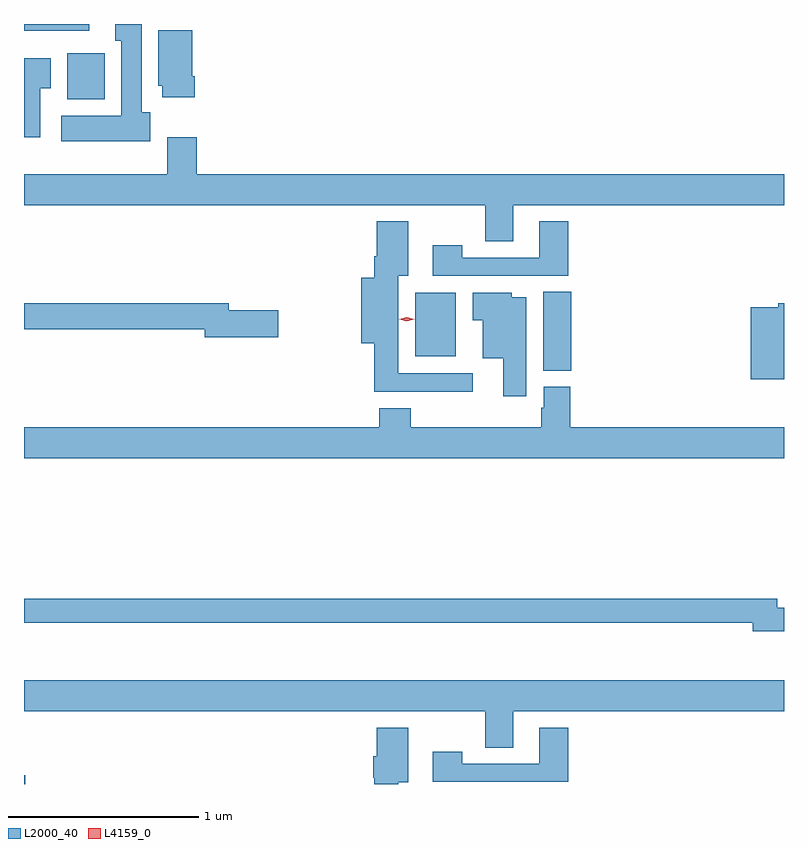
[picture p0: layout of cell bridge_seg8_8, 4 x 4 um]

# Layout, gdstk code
import gdstk
lib = gdstk.Library(unit=1e-6, precision=1e-09)
def R(c, l, rs):  # rectangles x0, y0, x1, y1
    for r in rs: c.add(gdstk.rectangle(r[:2], r[2:], *l))
def P(c, l, *ps):  # polygons
    for p in ps: c.add(gdstk.Polygon(p, *l))
L2000_40 = (2000, 40)
L4159_0 = (4159, 0)

bridge_seg8_8 = lib.new_cell('bridge_seg8_8')
R(bridge_seg8_8, L2000_40, [(946.056,1125.442,946.063,1125.489), (948.788,1127.617,948.935,1128.032), (948.116,1127.693,948.328,1128.028), (946.283,1129.046,946.48,1129.288), (946.056,1129.406,946.399,1129.442)])
P(bridge_seg8_8, L2000_40, [(946.72,1128.978),(946.675,1128.978),(946.675,1129.442),(946.535,1129.442),(946.535,1129.355),(946.568,1129.355),(946.568,1128.958),(946.251,1128.958),(946.251,1128.824),(946.72,1128.824)],
  [(946.955,1129.168),(946.942,1129.168),(946.942,1129.408),(946.763,1129.408),(946.763,1129.116),(946.784,1129.116),(946.784,1129.056),(946.955,1129.056)],
  [(946.141,1129.105),(946.198,1129.105),(946.198,1129.261),(946.056,1129.261),(946.056,1128.846),(946.141,1128.846)],
  [(948.631,1128.488),(950.056,1128.488),(950.056,1128.652),(946.964,1128.652),(946.964,1128.847),(946.811,1128.847),(946.811,1128.652),(946.056,1128.652),(946.056,1128.488),(948.484,1128.488),(948.484,1128.298),(948.631,1128.298)],
  [(948.418,1127.604),(948.025,1127.604),(948.025,1128.116),(948.079,1128.116),(948.079,1128.403),(947.912,1128.403),(947.912,1128.22),(947.9,1128.22),(947.9,1128.106),(947.831,1128.106),(947.831,1127.762),(947.9,1127.762),(947.9,1127.507),(948.418,1127.507)],
  [(948.92,1128.403),(948.767,1128.403),(948.767,1128.213),(948.363,1128.213),(948.363,1128.277),(948.207,1128.277),(948.207,1128.117),(948.92,1128.117)],
  [(948.7,1128.004),(948.624,1128.004),(948.624,1128.028),(948.419,1128.028),(948.419,1127.882),(948.47,1127.882),(948.47,1127.684),(948.578,1127.684),(948.578,1127.484),(948.7,1127.484)],
  [(947.395,1127.936),(947.134,1127.936),(947.134,1127.972),(946.056,1127.972),(946.056,1127.836),(947.006,1127.836),(947.006,1127.794),(947.395,1127.794)],
  [(950.056,1127.972),(950.026,1127.972),(950.026,1127.952),(949.88,1127.952),(949.88,1127.571),(950.056,1127.571)],
  [(950.056,1127.32),(948.932,1127.32),(948.932,1127.532),(948.791,1127.532),(948.791,1127.421),(948.779,1127.421),(948.779,1127.32),(948.092,1127.32),(948.092,1127.419),(947.927,1127.419),(947.927,1127.32),(946.056,1127.32),(946.056,1127.156),(950.056,1127.156)],
  [(950.056,1126.369),(950.02,1126.369),(950.02,1126.418),(946.056,1126.418),(946.056,1126.29),(949.892,1126.29),(949.892,1126.247),(950.056,1126.247)],
  [(948.631,1125.824),(950.056,1125.824),(950.056,1125.988),(946.056,1125.988),(946.056,1125.824),(948.484,1125.824),(948.484,1125.634),(948.631,1125.634)],
  [(948.92,1125.739),(948.767,1125.739),(948.767,1125.549),(948.363,1125.549),(948.363,1125.613),(948.207,1125.613),(948.207,1125.453),(948.92,1125.453)],
  [(948.025,1125.452),(948.079,1125.452),(948.079,1125.739),(947.912,1125.739),(947.912,1125.588),(947.894,1125.588),(947.894,1125.474),(947.9,1125.474),(947.9,1125.442),(948.025,1125.442)])
P(bridge_seg8_8, L4159_0, [(948.071,1127.878),(948.03,1127.887),(948.03,1127.888),(948.03,1127.888),(948.071,1127.898),(948.111,1127.888),(948.111,1127.887),(948.111,1127.887)])

lib.write_gds('bridge_seg8_8.gds')
